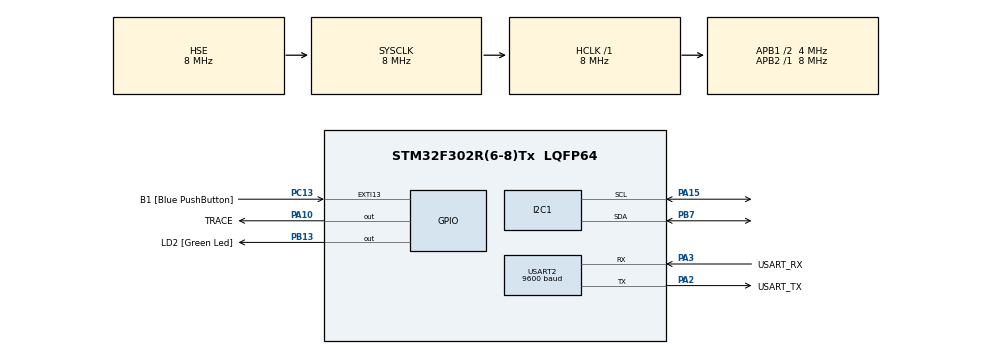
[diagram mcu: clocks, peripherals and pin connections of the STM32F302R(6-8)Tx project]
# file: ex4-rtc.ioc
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I2C1.Timing=0x00201D2B
Mcu.Family=STM32F3
Mcu.Name=STM32F302R(6-8)Tx
Mcu.Package=LQFP64
NVIC.EXTI15_10_IRQn=true\:0\:0\:false\:false\:true\:true\:true\:true
NVIC.I2C1_EV_IRQn=true\:0\:0\:false\:false\:true\:true\:true\:true
NVIC.PriorityGroup=NVIC_PRIORITYGROUP_0
NVIC.RTC_WKUP_IRQn=true\:0\:0\:false\:false\:true\:true\:true\:true
PA10.GPIO_Label=TRACE
PA10.Signal=GPIO_Output
PA13.GPIO_Label=TMS
PA13.Mode=Serial_Wire
PA13.Signal=SYS_JTMS-SWDIO
PA14.GPIO_Label=TCK
PA14.Mode=Serial_Wire
PA14.Signal=SYS_JTCK-SWCLK
PA15.Mode=I2C
PA15.Signal=I2C1_SCL
PA2.GPIO_Label=USART_TX
PA2.GPIO_Mode=GPIO_MODE_AF_PP
PA2.GPIO_PuPd=GPIO_NOPULL
PA2.GPIO_Speed=GPIO_SPEED_FREQ_LOW
PA2.Mode=Asynchronous
PA2.Signal=USART2_TX
PA3.GPIO_Label=USART_RX
PA3.GPIO_Mode=GPIO_MODE_AF_PP
PA3.GPIO_PuPd=GPIO_NOPULL
PA3.GPIO_Speed=GPIO_SPEED_FREQ_LOW
PA3.Mode=Asynchronous
PA3.Signal=USART2_RX
PB13.GPIO_Label=LD2 [Green Led]
PB13.Signal=GPIO_Output
PB3.GPIO_Label=SWO
PB3.Mode=Trace_Asynchronous_SW
PB3.Signal=SYS_JTDO-TRACESWO
PB7.Mode=I2C
PB7.Signal=I2C1_SDA
PC13.GPIO_Label=B1 [Blue PushButton]
PC13.GPIO_ModeDefaultEXTI=GPIO_MODE_IT_FALLING
PC13.Signal=GPXTI13
PC14\ -\ OSC32_IN.Mode=LSE-External-Oscillator
PC14\ -\ OSC32_IN.Signal=RCC_OSC32_IN
PC15\ -\ OSC32_OUT.Mode=LSE-External-Oscillator
PC15\ -\ OSC32_OUT.Signal=RCC_OSC32_OUT
PF0-OSC_IN.Mode=HSE-External-Clock-Source
PF0-OSC_IN.Signal=RCC_OSC_IN
PF1-OSC_OUT.Signal=RCC_OSC_OUT
ProjectManager.HeapSize=0x200
ProjectManager.StackSize=0x400
ProjectManager.TargetToolchain=STM32CubeIDE
RCC.AHBFreq_Value=8000000
RCC.APB1CLKDivider=RCC_HCLK_DIV2
RCC.APB1Freq_Value=4000000
RCC.APB1TimFreq_Value=8000000
RCC.APB2Freq_Value=8000000
RCC.APB2TimFreq_Value=8000000
RCC.CortexFreq_Value=8000000
RCC.HCLKFreq_Value=8000000
RCC.HSE_VALUE=8000000
RCC.HSI_VALUE=8000000
RCC.PLLM=8
RCC.PLLMUL=RCC_PLL_MUL8
RCC.PLLN=336
RCC.PLLP=RCC_PLLP_DIV4
RCC.PLLQ=7
RCC.RCC_PLLsource_Clock_Source_FROM_HSE=RCC_HSE_PREDIV_DIV2
RCC.SYSCLKFreq_VALUE=8000000
RCC.SYSCLKSourceVirtual=RCC_SYSCLKSOURCE_HSE
RCC.USBFreq_Value=32000000
RTC.WakeUpClock-WakeUp=RTC_WAKEUPCLOCK_CK_SPRE_16BITS
RTC.WakeUpCounter-WakeUp=4
USART2.BaudRate=9600
USART2.VirtualMode-Asynchronous=VM_ASYNC
VP_RTC_VS_RTC_Activate.Mode=RTC_Enabled
VP_RTC_VS_RTC_WakeUp_intern.Mode=WakeUp
board=NUCLEO-F302R8

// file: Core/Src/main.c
/* USER CODE BEGIN Header */
/**
  ******************************************************************************
  * @file           : main.c
  * @brief          : Main program body
  ******************************************************************************
  * @attention
  *
  * Copyright (c) 2026 STMicroelectronics.
  * All rights reserved.
  *
  * This software is licensed under terms that can be found in the LICENSE file
  * in the root directory of this software component.
  * If no LICENSE file comes with this software, it is provided AS-IS.
  *
  ******************************************************************************
  */
/* USER CODE END Header */
#include "main.h"
#include "i2c.h"
#include "rtc.h"
#include "usart.h"
#include "gpio.h"

/* USER CODE BEGIN Includes */
#include <stdio.h>
#include <string.h>
/* USER CODE END Includes */

/* USER CODE BEGIN PTD */
typedef enum {
    STATE_AWAKE,
    STATE_DEEP_SLEEP,
} State;
/* USER CODE END PTD */

/* USER CODE BEGIN PV */
volatile State state = STATE_AWAKE;
extern I2C_HandleTypeDef hi2c1;
extern UART_HandleTypeDef huart2;

static const uint8_t TMP102_ADDR = 0x48 << 1; // Use 8-bit address
static const uint8_t REG_TEMP = 0x00;
/* USER CODE END PV */

void SystemClock_Config(void);

int main(void)
{

  /* USER CODE BEGIN 1 */
  HAL_StatusTypeDef ret;
  uint8_t buf[12];
  int16_t val;
  float temp_c;

  /* USER CODE END 1 */

  /* MCU Configuration--------------------------------------------------------*/

  /* Reset of all peripherals, Initializes the Flash interface and the Systick. */
  HAL_Init();

  /* Configure the system clock */
  SystemClock_Config();

  /* Initialize all configured peripherals */
  MX_GPIO_Init();
  MX_I2C1_Init();
  MX_USART2_UART_Init();
  MX_RTC_Init();
  /* USER CODE BEGIN 2 */
  //printf("Booting up\r\n");
  /* USER CODE END 2 */

  /* Infinite loop */
  while (1)
  {

    /* USER CODE BEGIN 3 */
    switch (state) {
      case STATE_AWAKE:
        HAL_GPIO_WritePin(TRACE_GPIO_Port, TRACE_Pin, GPIO_PIN_SET);
        //-I2C Read
        HAL_GPIO_WritePin(LD2_GPIO_Port, LD2_Pin, GPIO_PIN_SET);

        buf[0] = REG_TEMP;
        ret = HAL_I2C_Master_Transmit(&hi2c1, TMP102_ADDR, buf, 1, HAL_MAX_DELAY);
        if ( ret != HAL_OK ) {
          strcpy((char*)buf, "Error Tx\r\n");
        } else {

          // Read 2 bytes from the temperature register
          ret = HAL_I2C_Master_Receive(&hi2c1, TMP102_ADDR, buf, 1, HAL_MAX_DELAY);
          if ( ret != HAL_OK ) {
            strcpy((char*)buf, "Error Rx\r\n");
          } else {

            //Combine the bytes
            val = ((int16_t)buf[0] << 4) | (buf[1] >> 4);

            // Convert to 2's complement, since temperature can be negative
            if ( val > 0x7FF ) {
              val |= 0xF000;
            }

            // Convert to float temperature value (Celsius)
            temp_c = val * 0.0625;

            // Convert temperature to decimal format
            temp_c *= 100;
            sprintf((char*)buf,
                  "%u.%u C\r\n",
                  ((unsigned int)temp_c / 100),
                  ((unsigned int)temp_c % 100));
          }
        }

        // Send out buffer (temperature or error message)
        HAL_UART_Transmit(&huart2, buf, strlen((char*)buf), HAL_MAX_DELAY);

        // Wait
        HAL_Delay(500);
        HAL_GPIO_WritePin(LD2_GPIO_Port, LD2_Pin, GPIO_PIN_RESET);
        HAL_GPIO_WritePin(TRACE_GPIO_Port, TRACE_Pin, GPIO_PIN_RESET);
        state = STATE_DEEP_SLEEP;
        break;
      case STATE_DEEP_SLEEP:
        HAL_GPIO_WritePin(TRACE_GPIO_Port, TRACE_Pin, GPIO_PIN_RESET);
        //printf("Entering deep sleep\r\n");
        HAL_SuspendTick();
        HAL_PWR_EnterSTOPMode(PWR_LOWPOWERREGULATOR_ON, PWR_STOPENTRY_WFI);
        SystemClock_Config();
        HAL_ResumeTick();
        break;
    }
  }
  /* USER CODE END 3 */
}

void SystemClock_Config(void)
{
  RCC_OscInitTypeDef RCC_OscInitStruct = {0};
  RCC_ClkInitTypeDef RCC_ClkInitStruct = {0};
  RCC_PeriphCLKInitTypeDef PeriphClkInit = {0};

  /** Initializes the RCC Oscillators according to the specified parameters
  * in the RCC_OscInitTypeDef structure.
  */
  RCC_OscInitStruct.OscillatorType = RCC_OSCILLATORTYPE_HSI|RCC_OSCILLATORTYPE_LSI
                              |RCC_OSCILLATORTYPE_HSE;
  RCC_OscInitStruct.HSEState = RCC_HSE_BYPASS;
  RCC_OscInitStruct.HSIState = RCC_HSI_ON;
  RCC_OscInitStruct.HSICalibrationValue = RCC_HSICALIBRATION_DEFAULT;
  RCC_OscInitStruct.LSIState = RCC_LSI_ON;
  RCC_OscInitStruct.PLL.PLLState = RCC_PLL_NONE;
  if (HAL_RCC_OscConfig(&RCC_OscInitStruct) != HAL_OK)
  {
    Error_Handler();
  }

  /** Initializes the CPU, AHB and APB buses clocks
  */
  RCC_ClkInitStruct.ClockType = RCC_CLOCKTYPE_HCLK|RCC_CLOCKTYPE_SYSCLK
                              |RCC_CLOCKTYPE_PCLK1|RCC_CLOCKTYPE_PCLK2;
  RCC_ClkInitStruct.SYSCLKSource = RCC_SYSCLKSOURCE_HSE;
  RCC_ClkInitStruct.AHBCLKDivider = RCC_SYSCLK_DIV1;
  RCC_ClkInitStruct.APB1CLKDivider = RCC_HCLK_DIV2;
  RCC_ClkInitStruct.APB2CLKDivider = RCC_HCLK_DIV1;

  if (HAL_RCC_ClockConfig(&RCC_ClkInitStruct, FLASH_LATENCY_0) != HAL_OK)
  {
    Error_Handler();
  }
  PeriphClkInit.PeriphClockSelection = RCC_PERIPHCLK_I2C1|RCC_PERIPHCLK_RTC;
  PeriphClkInit.I2c1ClockSelection = RCC_I2C1CLKSOURCE_HSI;
  PeriphClkInit.RTCClockSelection = RCC_RTCCLKSOURCE_LSI;
  if (HAL_RCCEx_PeriphCLKConfig(&PeriphClkInit) != HAL_OK)
  {
    Error_Handler();
  }
}

/* USER CODE BEGIN 4 */
void HAL_RTCEx_WakeUpTimerEventCallback(RTC_HandleTypeDef *hrtc)
{
    // We have been woken up, let's go back to the AWAKE state.
    state = STATE_AWAKE;
}

/* USER CODE END 4 */

void Error_Handler(void)
{
  __disable_irq();
  while (1)
  {
  }
}
